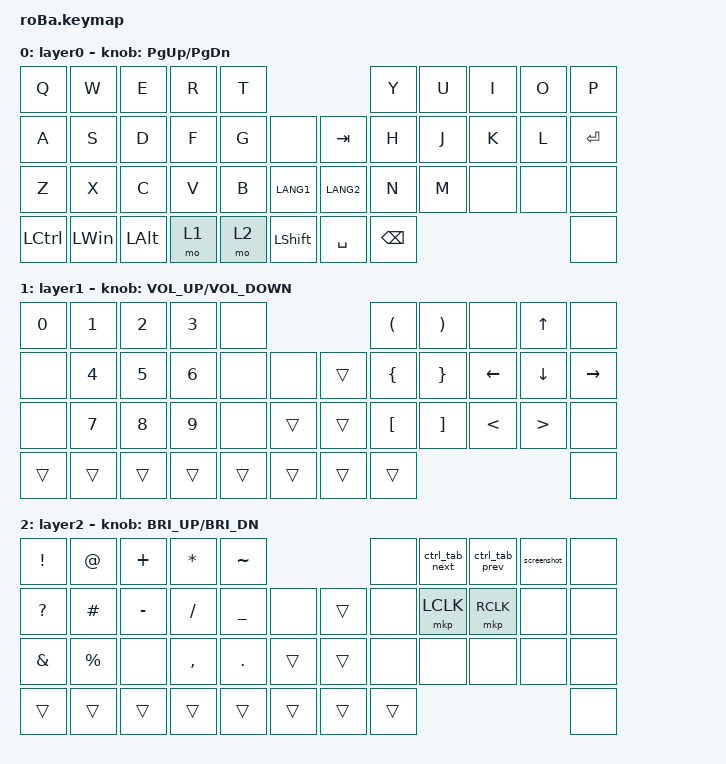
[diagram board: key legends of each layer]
#include <behaviors.dtsi>
#include <dt-bindings/zmk/keys.h>
#include <dt-bindings/zmk/pointing.h>

&mt {
    flavor = "balanced";
    quick-tap-ms = <0>;
};

&trackball {
    automouse-layer = <4>;
    scroll-layers = <5>;

    // arrows {
    //     layers = <3>;
    //     bindings =
    //         <&kp RIGHT_ARROW>,
    //         <&kp LEFT_ARROW>,
    //         <&kp UP_ARROW>,
    //         <&kp DOWN_ARROW>;
    //     tick = <10>;
    //     wait-ms = <5>;
    //     tap-ms = <5>;
    // };
};

/ {
    combos {
        compatible = "zmk,combos";

        tab {
            bindings = <&kp TAB>;
            key-positions = <11 12>;
        };

        shift_tab {
            bindings = <&kp LS(TAB)>;
            key-positions = <12 13>;
        };

        muhennkann {
            bindings = <&ctrl_tab_next INT_MUHENKAN>;
            key-positions = <11 10>;
        };

        double_quotation {
            bindings = <&kp DOUBLE_QUOTES>;
            key-positions = <20 21>;
        };

        eq {
            bindings = <&kp EQUAL>;
            key-positions = <24 25>;
        };
    };

    macros {
        ctrl_tab_next: ctrl_tab_next {
            compatible = "zmk,behavior-macro";
            #binding-cells = <0>;
            bindings =
                <&macro_press>,
                <&kp LCTRL>,
                <&macro_tap>,
                <&kp TAB>,
                <&macro_release>,
                <&kp LCTRL>;

            label = "CTRL_TAB_NEXT";
        };

        ctrl_tab_prev: ctrl_tab_prev {
            compatible = "zmk,behavior-macro";
            #binding-cells = <0>;
            bindings =
                <&macro_press>,
                <&kp LCTRL &kp LSHFT>,
                <&macro_tap>,
                <&kp TAB>,
                <&macro_release>,
                <&kp LSHFT &kp LCTRL>;

            label = "CTRL_TAB_PREV";
        };

        screenshot: screenshot {
            compatible = "zmk,behavior-macro";
            #binding-cells = <0>;
            bindings =
                <&macro_press>,
                <&kp LEFT_WIN &kp LEFT_SHIFT>,
                <&macro_tap>,
                <&kp S>,
                <&macro_release>,
                <&kp LEFT_SHIFT &kp LEFT_WIN>;

            label = "SCREENSHOT";
        };
    };

    behaviors {
        lt_to_layer_0: lt_to_layer_0 {
            compatible = "zmk,behavior-hold-tap";
            label = "LAYER_TAP_TO_0";
            bindings = <&mo>, <&ctrl_tab_next>;

            #binding-cells = <2>;
            tapping-term-ms = <200>;
        };
    };

    keymap {
        compatible = "zmk,keymap";

        layer0 {
            bindings = <
&kp Q      &kp W         &kp E         &kp R  &kp T                                 &kp Y          &kp U  &kp I  &kp O  &kp P
&kp A      &kp S         &kp D         &kp F  &kp G  &none               &kp TAB    &kp H          &kp J  &kp K  &kp L  &kp ENTER
&kp Z      &kp X         &kp C         &kp V  &kp B  &kp LANG1           &kp LANG2  &kp N          &kp M  &none  &none  &none
&kp LCTRL  &kp LEFT_WIN  &kp LEFT_ALT  &mo 1  &mo 2  &kp LEFT_SHIFT      &kp SPACE  &kp BACKSPACE                       &none
            >;

            sensor-bindings = <&inc_dec_kp PG_UP PAGE_DOWN>;
        };

        layer1 {
            bindings = <
&kp NUMBER_0  &kp NUMBER_1  &kp NUMBER_2  &kp NUMBER_3  &none                       &kp LEFT_PARENTHESIS  &kp RIGHT_PARENTHESIS  &none           &kp UP_ARROW      &none
&none         &kp NUMBER_4  &kp NUMBER_5  &kp NUMBER_6  &none   &none       &trans  &kp LEFT_BRACE        &kp RIGHT_BRACE        &kp LEFT_ARROW  &kp DOWN_ARROW    &kp RIGHT_ARROW
&none         &kp N7        &kp NUMBER_8  &kp NUMBER_9  &none   &trans      &trans  &kp LEFT_BRACKET      &kp RIGHT_BRACKET      &kp LESS_THAN   &kp GREATER_THAN  &none
&trans        &trans        &trans        &trans        &trans  &trans      &trans  &trans                                                                         &none
            >;

            sensor-bindings = <&inc_dec_kp C_VOLUME_UP C_VOLUME_DOWN>;
        };

        layer2 {
            bindings = <
&kp EXCLAMATION  &kp AT       &kp PLUS   &kp ASTERISK  &kp TILDE                           &none   &ctrl_tab_next  &ctrl_tab_prev  &screenshot  &none
&kp QUESTION     &kp HASH     &kp MINUS  &kp SLASH     &kp UNDERSCORE  &none       &trans  &none   &mkp LCLK       &mkp RCLK       &none        &none
&kp AMPERSAND    &kp PERCENT  &none      &kp COMMA     &kp PERIOD      &trans      &trans  &none   &none           &none           &none        &none
&trans           &trans       &trans     &trans        &trans          &trans      &trans  &trans                                               &none
            >;

            sensor-bindings = <&inc_dec_kp C_BRI_UP C_BRI_DN>;
        };
    };
};
